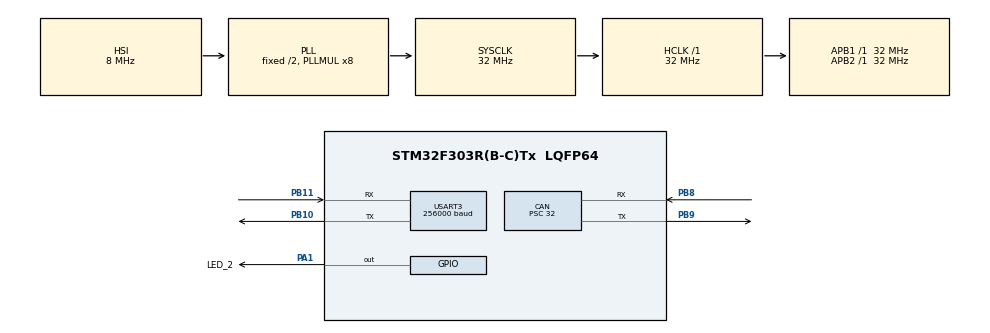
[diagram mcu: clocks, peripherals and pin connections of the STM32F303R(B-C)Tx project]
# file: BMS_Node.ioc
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CAN.BS1=CAN_BS1_2TQ
CAN.BS2=CAN_BS2_1TQ
CAN.CalculateBaudRate=250000
CAN.CalculateTimeBit=4000
CAN.CalculateTimeQuantum=1000.0
CAN.Prescaler=32
Mcu.Family=STM32F3
Mcu.Name=STM32F303R(B-C)Tx
Mcu.Package=LQFP64
NVIC.CAN_RX1_IRQn=true\:0\:0\:false\:false\:true\:true\:true\:true
NVIC.PriorityGroup=NVIC_PRIORITYGROUP_4
PA1.GPIO_Label=LED_2
PA1.Signal=GPIO_Output
PA10.Signal=USART1_RX
PA9.Signal=USART1_TX
PB10.Mode=Asynchronous
PB10.Signal=USART3_TX
PB11.Mode=Asynchronous
PB11.Signal=USART3_RX
PB8.Mode=CAN_Activate
PB8.Signal=CAN_RX
PB9.Mode=CAN_Activate
PB9.Signal=CAN_TX
ProjectManager.HeapSize=0x200
ProjectManager.StackSize=0x400
ProjectManager.TargetToolchain=STM32CubeIDE
RCC.AHBFreq_Value=32000000
RCC.APB1Freq_Value=32000000
RCC.APB1TimFreq_Value=32000000
RCC.APB2Freq_Value=32000000
RCC.APB2TimFreq_Value=32000000
RCC.CortexFreq_Value=32000000
RCC.HCLKFreq_Value=32000000
RCC.HSE_VALUE=8000000
RCC.HSI_VALUE=8000000
RCC.LSE_VALUE=32768
RCC.PLLMUL=RCC_PLL_MUL8
RCC.SYSCLKFreq_VALUE=32000000
RCC.SYSCLKSourceVirtual=RCC_SYSCLKSOURCE_PLLCLK
RCC.USBFreq_Value=32000000
USART3.BaudRate=256000
USART3.VirtualMode-Asynchronous=VM_ASYNC
board=custom

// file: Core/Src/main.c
/* USER CODE BEGIN Header */
/**
  ******************************************************************************
  * @file           : main.c
  * @brief          : Main program body
  ******************************************************************************
  * @attention
  *
  * Copyright (c) 2023 STMicroelectronics.
  * All rights reserved.
  *
  * This software is licensed under terms that can be found in the LICENSE file
  * in the root directory of this software component.
  * If no LICENSE file comes with this software, it is provided AS-IS.
  *
  ******************************************************************************
  */
/* USER CODE END Header */
#include "main.h"

/* USER CODE BEGIN Includes */
#include <stdio.h>
#include "BMS_CAN.h"

/* USER CODE END Includes */

/* USER CODE BEGIN PTD */
CAN_RxHeaderTypeDef RxHeader;
CAN_TxHeaderTypeDef TxHeader;
/* USER CODE END PTD */

/* USER CODE BEGIN PD */
#define UART_TIMEOUT 1000
#define NT_MSG_END_LENGTH 3
#define DATA_LENGTH 8
#define UART_MAIN_LENGTH 20
/* USER CODE END PD */

CAN_HandleTypeDef hcan;

UART_HandleTypeDef huart3;

/* USER CODE BEGIN PV */
uint8_t RxData[DATA_LENGTH];
uint8_t mainUART_Rx[UART_MAIN_LENGTH];
uint8_t TxData[DATA_LENGTH];
uint32_t TxMailbox;
/* USER CODE END PV */

void SystemClock_Config(void);
static void MX_GPIO_Init(void);
static void MX_CAN_Init(void);
static void MX_USART3_UART_Init(void);

/* USER CODE BEGIN 0 */
void NEXTION_ChangeVal(const char *objName, uint32_t value){
	char buf[20];
	unsigned int len = sprintf(buf, "%s.val=%u", objName, value);
	HAL_UART_Transmit(&huart3, buf, len,UART_TIMEOUT);
}

void HAL_CAN_RxFifo0MsgPendingCallback(CAN_HandleTypeDef *hcan){
  HAL_CAN_GetRxMessage(hcan, CAN_RX_FIFO0, &RxHeader, RxData);
  if(RxHeader.IDE == CAN_ID_EXT && RxHeader.ExtId == 0x19B50100) {
    	HAL_GPIO_TogglePin(LED_2_GPIO_Port,LED_2_Pin);
    	Individual_Cell_Voltages_G0_Decoder(RxData);
    }

  	else if(RxHeader.IDE == CAN_ID_EXT && RxHeader.ExtId == 0x19B50101) {
    	Individual_Cell_Voltages_G1_Decoder(RxData);
    }

  	else if(RxHeader.IDE == CAN_ID_EXT && RxHeader.ExtId == 0x19B50102) {
    	Individual_Cell_Voltages_G2_Decoder(RxData);
    }

  	else if(RxHeader.IDE == CAN_ID_EXT && RxHeader.ExtId == 0x19B50500) {
    	State_Of_Charge_Decoder(RxData);
    }
}

/* USER CODE END 0 */

int main(void)
{

  /* MCU Configuration--------------------------------------------------------*/

  /* Reset of all peripherals, Initializes the Flash interface and the Systick. */
  HAL_Init();

  /* Configure the system clock */
  SystemClock_Config();

  /* Initialize all configured peripherals */
  MX_GPIO_Init();
  MX_CAN_Init();
  MX_USART3_UART_Init();
  /* USER CODE BEGIN 2 */
  HAL_CAN_Start(&hcan);
  HAL_CAN_ActivateNotification(&hcan, CAN_IT_RX_FIFO0_MSG_PENDING);

  /* USER CODE END 2 */

  /* Infinite loop */
  /* USER CODE BEGIN WHILE */
  while (1)
  {
	  TxHeader.DLC = 8;
	  TxHeader.IDE = CAN_ID_STD;
	  TxHeader.StdId = 0x180;
	  TxHeader.RTR = CAN_RTR_DATA;
	  TxData[0] = 80;
	  TxData[1] = 81;
	  TxData[2] = 82;
	  TxData[3] = 83;
	  TxData[4] = 84;
	  TxData[5] = 85;
	  TxData[6] = 86;
	  HAL_CAN_AddTxMessage(&hcan,&TxHeader,TxData,&TxMailbox);
	  HAL_Delay(500);
    /* USER CODE END WHILE */

  }
}

void SystemClock_Config(void)
{
  RCC_OscInitTypeDef RCC_OscInitStruct = {0};
  RCC_ClkInitTypeDef RCC_ClkInitStruct = {0};
  RCC_PeriphCLKInitTypeDef PeriphClkInit = {0};

  /** Initializes the RCC Oscillators according to the specified parameters
  * in the RCC_OscInitTypeDef structure.
  */
  RCC_OscInitStruct.OscillatorType = RCC_OSCILLATORTYPE_HSI;
  RCC_OscInitStruct.HSIState = RCC_HSI_ON;
  RCC_OscInitStruct.HSICalibrationValue = RCC_HSICALIBRATION_DEFAULT;
  RCC_OscInitStruct.PLL.PLLState = RCC_PLL_ON;
  RCC_OscInitStruct.PLL.PLLSource = RCC_PLLSOURCE_HSI;
  RCC_OscInitStruct.PLL.PLLMUL = RCC_PLL_MUL8;
  if (HAL_RCC_OscConfig(&RCC_OscInitStruct) != HAL_OK)
  {
    Error_Handler();
  }

  /** Initializes the CPU, AHB and APB buses clocks
  */
  RCC_ClkInitStruct.ClockType = RCC_CLOCKTYPE_HCLK|RCC_CLOCKTYPE_SYSCLK
                              |RCC_CLOCKTYPE_PCLK1|RCC_CLOCKTYPE_PCLK2;
  RCC_ClkInitStruct.SYSCLKSource = RCC_SYSCLKSOURCE_PLLCLK;
  RCC_ClkInitStruct.AHBCLKDivider = RCC_SYSCLK_DIV1;
  RCC_ClkInitStruct.APB1CLKDivider = RCC_HCLK_DIV1;
  RCC_ClkInitStruct.APB2CLKDivider = RCC_HCLK_DIV1;

  if (HAL_RCC_ClockConfig(&RCC_ClkInitStruct, FLASH_LATENCY_1) != HAL_OK)
  {
    Error_Handler();
  }
  PeriphClkInit.PeriphClockSelection = RCC_PERIPHCLK_USART3;
  PeriphClkInit.Usart3ClockSelection = RCC_USART3CLKSOURCE_PCLK1;
  if (HAL_RCCEx_PeriphCLKConfig(&PeriphClkInit) != HAL_OK)
  {
    Error_Handler();
  }
}

static void MX_CAN_Init(void)
{

  hcan.Instance = CAN;
  hcan.Init.Prescaler = 32;
  hcan.Init.Mode = CAN_MODE_NORMAL;
  hcan.Init.SyncJumpWidth = CAN_SJW_1TQ;
  hcan.Init.TimeSeg1 = CAN_BS1_2TQ;
  hcan.Init.TimeSeg2 = CAN_BS2_1TQ;
  hcan.Init.TimeTriggeredMode = DISABLE;
  hcan.Init.AutoBusOff = DISABLE;
  hcan.Init.AutoWakeUp = DISABLE;
  hcan.Init.AutoRetransmission = DISABLE;
  hcan.Init.ReceiveFifoLocked = DISABLE;
  hcan.Init.TransmitFifoPriority = DISABLE;
  if (HAL_CAN_Init(&hcan) != HAL_OK)
  {
    Error_Handler();
  }
  /* USER CODE BEGIN CAN_Init 2 */
  CAN_FilterTypeDef canfilterconfig;

     canfilterconfig.FilterActivation = CAN_FILTER_ENABLE;
     canfilterconfig.FilterBank = 10;  // anything between 0 to SlaveStartFilterBank
     canfilterconfig.FilterFIFOAssignment = CAN_RX_FIFO0;
     canfilterconfig.FilterIdHigh = 0x0000;
     canfilterconfig.FilterIdLow = 0x0000;
     canfilterconfig.FilterMaskIdHigh = 0x0000;
     canfilterconfig.FilterMaskIdLow = 0x0000;
     canfilterconfig.FilterMode = CAN_FILTERMODE_IDMASK;
     canfilterconfig.FilterScale = CAN_FILTERSCALE_32BIT;

     HAL_CAN_ConfigFilter(&hcan, &canfilterconfig);
  /* USER CODE END CAN_Init 2 */

}

static void MX_USART3_UART_Init(void)
{

  huart3.Instance = USART3;
  huart3.Init.BaudRate = 256000;
  huart3.Init.WordLength = UART_WORDLENGTH_8B;
  huart3.Init.StopBits = UART_STOPBITS_1;
  huart3.Init.Parity = UART_PARITY_NONE;
  huart3.Init.Mode = UART_MODE_TX_RX;
  huart3.Init.HwFlowCtl = UART_HWCONTROL_NONE;
  huart3.Init.OverSampling = UART_OVERSAMPLING_16;
  huart3.Init.OneBitSampling = UART_ONE_BIT_SAMPLE_DISABLE;
  huart3.AdvancedInit.AdvFeatureInit = UART_ADVFEATURE_NO_INIT;
  if (HAL_UART_Init(&huart3) != HAL_OK)
  {
    Error_Handler();
  }

}

static void MX_GPIO_Init(void)
{
  GPIO_InitTypeDef GPIO_InitStruct = {0};

  /* GPIO Ports Clock Enable */
  __HAL_RCC_GPIOA_CLK_ENABLE();
  __HAL_RCC_GPIOB_CLK_ENABLE();

  /*Configure GPIO pin Output Level */
  HAL_GPIO_WritePin(LED_2_GPIO_Port, LED_2_Pin, GPIO_PIN_RESET);

  /*Configure GPIO pin : LED_2_Pin */
  GPIO_InitStruct.Pin = LED_2_Pin;
  GPIO_InitStruct.Mode = GPIO_MODE_OUTPUT_PP;
  GPIO_InitStruct.Pull = GPIO_NOPULL;
  GPIO_InitStruct.Speed = GPIO_SPEED_FREQ_LOW;
  HAL_GPIO_Init(LED_2_GPIO_Port, &GPIO_InitStruct);

  /*Configure GPIO pins : PA9 PA10 */
  GPIO_InitStruct.Pin = GPIO_PIN_9|GPIO_PIN_10;
  GPIO_InitStruct.Mode = GPIO_MODE_AF_PP;
  GPIO_InitStruct.Pull = GPIO_NOPULL;
  GPIO_InitStruct.Speed = GPIO_SPEED_FREQ_HIGH;
  GPIO_InitStruct.Alternate = GPIO_AF7_USART1;
  HAL_GPIO_Init(GPIOA, &GPIO_InitStruct);

}

void Error_Handler(void)
{
  __disable_irq();
  while (1)
  {
  }
}
